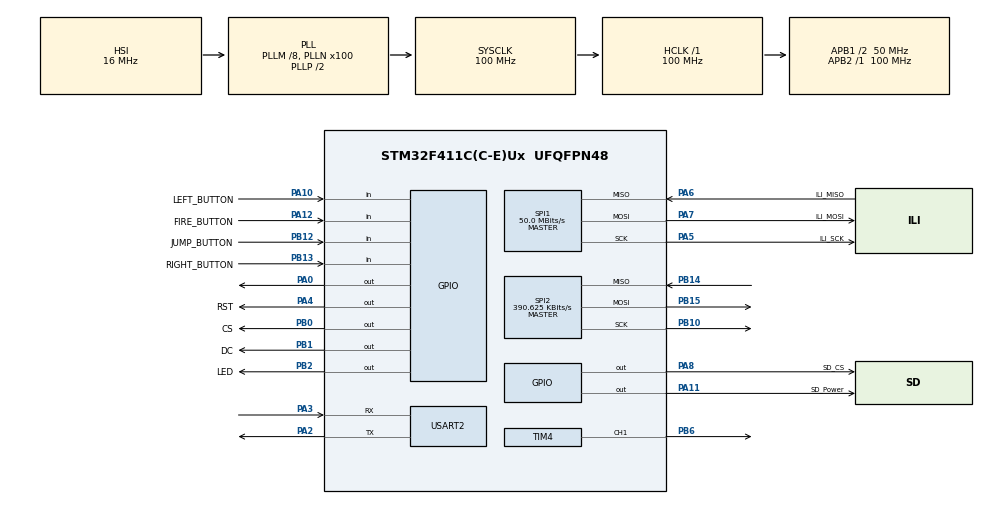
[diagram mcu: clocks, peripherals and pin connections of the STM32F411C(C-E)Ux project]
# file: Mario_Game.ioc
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FATFS._MAX_SS=512
FATFS._USE_LFN=1
Mcu.Family=STM32F4
Mcu.Name=STM32F411C(C-E)Ux
Mcu.Package=UFQFPN48
NVIC.PriorityGroup=NVIC_PRIORITYGROUP_4
NVIC.TIM3_IRQn=true\:0\:0\:false\:false\:true\:true\:true\:true
PA0-WKUP.Signal=GPIO_Output
PA10.GPIO_Label=LEFT_BUTTON
PA10.GPIO_PuPd=GPIO_PULLDOWN
PA10.Signal=GPIO_Input
PA11.GPIO_Label=SD_Power
PA11.GPIO_PuPd=GPIO_NOPULL
PA11.GPIO_Speed=GPIO_SPEED_FREQ_VERY_HIGH
PA11.Signal=GPIO_Output
PA12.GPIO_Label=FIRE_BUTTON
PA12.Signal=GPIO_Input
PA2.Mode=Asynchronous
PA2.Signal=USART2_TX
PA3.Mode=Asynchronous
PA3.Signal=USART2_RX
PA4.GPIO_Label=RST
PA4.GPIO_PuPd=GPIO_NOPULL
PA4.PinState=GPIO_PIN_SET
PA4.Signal=GPIO_Output
PA5.GPIO_Label=ILI_SCK
PA5.GPIO_PuPd=GPIO_NOPULL
PA5.Mode=Full_Duplex_Master
PA5.Signal=SPI1_SCK
PA6.GPIO_Label=ILI_MISO
PA6.GPIO_PuPd=GPIO_NOPULL
PA6.Mode=Full_Duplex_Master
PA6.Signal=SPI1_MISO
PA7.GPIO_Label=ILI_MOSI
PA7.Mode=Full_Duplex_Master
PA7.Signal=SPI1_MOSI
PA8.GPIO_Label=SD_CS
PA8.GPIO_ModeDefaultOutputPP=GPIO_MODE_OUTPUT_PP
PA8.GPIO_PuPd=GPIO_PULLUP
PA8.GPIO_Speed=GPIO_SPEED_FREQ_LOW
PA8.PinState=GPIO_PIN_SET
PA8.Signal=GPIO_Output
PB0.GPIO_Label=CS
PB0.GPIO_ModeDefaultOutputPP=GPIO_MODE_OUTPUT_PP
PB0.GPIO_PuPd=GPIO_NOPULL
PB0.GPIO_Speed=GPIO_SPEED_FREQ_HIGH
PB0.PinState=GPIO_PIN_SET
PB0.Signal=GPIO_Output
PB1.GPIO_Label=DC
PB1.GPIO_ModeDefaultOutputPP=GPIO_MODE_OUTPUT_PP
PB1.GPIO_PuPd=GPIO_NOPULL
PB1.GPIO_Speed=GPIO_SPEED_FREQ_HIGH
PB1.PinState=GPIO_PIN_SET
PB1.Signal=GPIO_Output
PB10.GPIO_PuPd=GPIO_PULLUP
PB10.GPIO_Speed=GPIO_SPEED_FREQ_LOW
PB10.Mode=Full_Duplex_Master
PB10.Signal=SPI2_SCK
PB12.GPIO_Label=JUMP_BUTTON
PB12.GPIO_PuPd=GPIO_PULLDOWN
PB12.Signal=GPIO_Input
PB13.GPIO_Label=RIGHT_BUTTON
PB13.GPIO_PuPd=GPIO_PULLDOWN
PB13.Signal=GPIO_Input
PB14.GPIO_PuPd=GPIO_PULLUP
PB14.GPIO_Speed=GPIO_SPEED_FREQ_LOW
PB14.Mode=Full_Duplex_Master
PB14.Signal=SPI2_MISO
PB15.GPIO_PuPd=GPIO_PULLUP
PB15.GPIO_Speed=GPIO_SPEED_FREQ_LOW
PB15.Mode=Full_Duplex_Master
PB15.Signal=SPI2_MOSI
PB2.GPIO_Label=LED
PB2.GPIO_PuPd=GPIO_NOPULL
PB2.GPIO_Speed=GPIO_SPEED_FREQ_HIGH
PB2.PinState=GPIO_PIN_SET
PB2.Signal=GPIO_Output
PB6.Signal=S_TIM4_CH1
ProjectManager.HeapSize=0x200
ProjectManager.StackSize=0x400
ProjectManager.TargetToolchain=STM32CubeIDE
RCC.48MHZClocksFreq_Value=50000000
RCC.AHBFreq_Value=100000000
RCC.APB1CLKDivider=RCC_HCLK_DIV2
RCC.APB1Freq_Value=50000000
RCC.APB1TimFreq_Value=100000000
RCC.APB2Freq_Value=100000000
RCC.APB2TimFreq_Value=100000000
RCC.CortexFreq_Value=100000000
RCC.HCLKFreq_Value=100000000
RCC.HSE_VALUE=25000000
RCC.HSI_VALUE=16000000
RCC.LSE_VALUE=32768
RCC.PLLM=8
RCC.PLLN=100
RCC.SYSCLKFreq_VALUE=100000000
RCC.SYSCLKSource=RCC_SYSCLKSOURCE_PLLCLK
RCC.VCOOutputFreq_Value=200000000
SH.S_TIM4_CH1.0=TIM4_CH1,PWM Generation1 CH1
SPI1.BaudRatePrescaler=SPI_BAUDRATEPRESCALER_2
SPI1.CalculateBaudRate=50.0 MBits/s
SPI1.Direction=SPI_DIRECTION_2LINES
SPI1.Mode=SPI_MODE_MASTER
SPI1.VirtualType=VM_MASTER
SPI2.BaudRatePrescaler=SPI_BAUDRATEPRESCALER_128
SPI2.CalculateBaudRate=390.625 KBits/s
SPI2.Direction=SPI_DIRECTION_2LINES
SPI2.Mode=SPI_MODE_MASTER
SPI2.VirtualType=VM_MASTER
TIM3.Channel-Output\ Compare1\ No\ Output=TIM_CHANNEL_1
TIM3.Period=12500
TIM4.Channel-PWM\ Generation1\ CH1=TIM_CHANNEL_1
TIM4.Period=255
USART2.VirtualMode=VM_ASYNC
VP_FATFS_VS_Generic.Mode=User_defined
VP_TIM3_VS_no_output1.Mode=Output Compare1 No Output
board=custom

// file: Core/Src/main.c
/* USER CODE BEGIN Header */
/**
  ******************************************************************************
  * @file           : main.c
  * @brief          : Main program body
  ******************************************************************************
  * @attention
  *
  * Copyright (c) 2025 STMicroelectronics.
  * All rights reserved.
  *
  * This software is licensed under terms that can be found in the LICENSE file
  * in the root directory of this software component.
  * If no LICENSE file comes with this software, it is provided AS-IS.
  *
  ******************************************************************************
  */
/* USER CODE END Header */
#include "main.h"
#include "fatfs.h"

/* USER CODE BEGIN Includes */
#include "ili9341.h"
#include "fonts.h"
#include "assets.h"
/* USER CODE END Includes */

/* USER CODE BEGIN PD */
#define BUFF_SIZE 4096

/* USER CODE END PD */

SPI_HandleTypeDef hspi1;
SPI_HandleTypeDef hspi2;

TIM_HandleTypeDef htim3;
TIM_HandleTypeDef htim4;

UART_HandleTypeDef huart2;

/* USER CODE BEGIN PV */
#define USER_BUTTON_PIN GPIO_PIN_0
#define USER_BUTTON_PORT GPIOA
#define DEBOUNCE_DELAY 50
/* USER CODE END PV */

void SystemClock_Config(void);
static void MX_GPIO_Init(void);
static void MX_USART2_UART_Init(void);
static void MX_SPI1_Init(void);
static void MX_SPI2_Init(void);
static void MX_TIM3_Init(void);
static void MX_TIM4_Init(void);

/* USER CODE BEGIN 0 */

//void myprintf(const char *fmt, ...) {
//  static char buffer[256];
//  va_list args;
//  va_start(args, fmt);
//  vsnprintf(buffer, sizeof(buffer), fmt, args);
//  va_end(args);
//
//  int len = strlen(buffer);
////  HAL_UART_Transmit(&huart2, (uint8_t*)buffer, len, -1);
//
//  ILI9341_WriteString(40, 40, buffer, Font_11x18, ILI9341_BLACK, ILI9341_WHITE);
//
//}
bool print_once = false;
uint8_t mario_lives = 3;

struct Character {
	int16_t x;
	int16_t y;
	int16_t width;
	int16_t height;
	int16_t x_distance_between_frame;
	int16_t y_distance_between_frame;
	float y_velocity;
	bool redraw;
};

struct Enemy {
	int16_t x;
	int16_t y;
	int16_t width;
	int16_t height;
	int16_t x_distance_between_frame;
	int16_t y_distance_between_frame;
	int16_t start;
	int16_t end;
	float y_velocity;
	bool dir;
	bool died;
	bool active;
	uint8_t health;
};

struct Object {
	int16_t x;
	int16_t y;
	int16_t prev_x;
	int16_t prev_y;
	int16_t width;
	int16_t height;
	uint16_t* frame;
	bool collidable;
	bool redraw;
};

struct Object objects[20];
uint16_t mario_final[34*32];
uint16_t bowser_final[64*64];
uint8_t num_objects = 0;

uint8_t prev_mario_x = 0;
uint8_t mario_x = 0;
uint8_t prev_mario_y = 0;
uint8_t mario_y = 0;
volatile uint32_t last_press = 0;
bool moved = false;
bool idle = false;
bool dir = false;

struct Character prev_mario = { 80, 176, 26, 32, 0, 0, 0, false };
struct Character mario = { 80, 176, 26, 32, 0, 0, 0, false };

struct Enemy prev_bowser = { 180, 144, 64, 64, 0, 0, 80, 200, 0, false, true};
struct Enemy bowser = { 180, 144, 64, 64, 0, 0, 80, 160, 200, 0, false, true, 50};

struct Enemy prev_goomba = { 180, 54, 32, 32, 0, 0, 80, 200, 0, false, false};
struct Enemy goomba = { 180, 64, 32, 32, 0, 0, 120, 160, 0, false, false };

struct Object fireball = { 0, 0, 0, 0, 16, 16, mario_fire_1, false, false };
uint16_t mario_fire_final[16*16];
uint8_t mario_fire_frame = 0;
//struct Enemy prev_bowser = { 280, 176, 32, 32, 0, 0, 80, 200, 0, false, true};
//struct Enemy bowser = { 280, 176, 32, 32, 0, 0, 80, 200, 0, false, true};
//
//
//struct Enemy* enemies[3] = { &goomba, &donkey, &bowser };
struct Enemy* enemies[3] = { &bowser, &goomba };

unsigned char audio_buff[BUFF_SIZE];
unsigned char yahoo_buff[BUFF_SIZE];
uint16_t buff_pointer = 0;
uint16_t yahoo_buff_pointer = 0;

FATFS FatFs; 	//Fatfs handle
FIL fil; 		//File handle
FIL fil_yahoo; 		//File handle
FRESULT fres; //Result after operations

int num_iter = 0;
int num_not_equal_iter = 0;
bool do_once = false;
bool is_jumping = false;
bool reset_jump_audio = false;
uint32_t jump_timer;
bool reset_game = false;

void HAL_TIM_PeriodElapsedCallback(TIM_HandleTypeDef *htim) {
	if (htim->Instance == TIM3) {
        // Get next sample from buffer
		uint8_t sampled_8bit_pwm_val = audio_buff[buff_pointer++];
		if (is_jumping && HAL_GetTick() - jump_timer < 500) {
			sampled_8bit_pwm_val = (3 * sampled_8bit_pwm_val + yahoo_buff[yahoo_buff_pointer++]) / 4;
			reset_jump_audio = false;
		}
		else {
			if (!reset_jump_audio) {
				reset_jump_audio = true;
				f_lseek(&fil_yahoo, 0x2c);
				yahoo_buff_pointer = 0;
				int bytesRead = 0;
				FRESULT res = f_read(&fil_yahoo, yahoo_buff, BUFF_SIZE, &bytesRead);
			}
		}

        // Scale 16-bit to 8-bit unsigned for PWM (period=255)
        // basically take the 16 bit value, shift by 32768 to make it
        // start from 0. Then multiply by 255
//        uint8_t pwm_value = ((uint16_t)(sample16 + 32768) * 255) >> 16;

//		if (!do_once) {
//			char hex_str[16];
//			sprintf(hex_str, "0x%02X", sampled_8bit_pwm_val);
//			ILI9341_WriteString(80, 0, hex_str, Font_11x18, ILI9341_BLACK, ILI9341_WHITE);
//			do_once = true;
//		}
        __HAL_TIM_SET_COMPARE(&htim4, TIM_CHANNEL_1, sampled_8bit_pwm_val);

        // Refill buffer if needed
        if (buff_pointer >= BUFF_SIZE) {
        	num_iter++;
//			char hex_str[16];
//			sprintf(hex_str, "0x%02X", pwm_value);
//			ILI9341_WriteString(80, 0, hex_str, Font_11x18, ILI9341_BLACK, ILI9341_WHITE);
            // refill buffer with f_read (non-blocking, or with a flag in main loop)
            // or set a "need_refill" flag to be handled in main()
        	int bytesRead = 0;
        	FRESULT res = f_read(&fil, audio_buff, BUFF_SIZE, &bytesRead);
        	if (bytesRead < BUFF_SIZE) {
        		f_lseek(&fil, 0x2C);
        	}

        	buff_pointer = 0;
        }

        if (yahoo_buff_pointer >= BUFF_SIZE) {
        	int bytesRead = 0;
        	FRESULT res = f_read(&fil_yahoo, yahoo_buff, BUFF_SIZE, &bytesRead);
        	if (bytesRead < BUFF_SIZE) {
				f_lseek(&fil_yahoo, 0x2c);
        	}

        	yahoo_buff_pointer = 0;
        }
	}
}

void init() {
    ILI9341_Unselect();
//    ILI9341_TouchUnselect();
    ILI9341_Init();
}

// turn left if walking left
void turn_mario(uint8_t width, uint8_t height) {
	if (mario.x_distance_between_frame < 0 || (mario.x_distance_between_frame == 0 && dir == true)) {
        for (int row = 0; row < height; row++) {
            for (int col = 0; col < width / 2; col++) {
                int left  = row * width + col;
                int right = row * width + (width - 1 - col);

                // Swap 16-bit pixels
                uint16_t temp = mario_final[left];
                mario_final[left] = mario_final[right];
                mario_final[right] = temp;
            }
        }

		dir = true;
	}
	else if (mario.x_distance_between_frame > 0) {
		dir = false;
	}

}

void turn_enemy(uint8_t width, uint8_t height, uint16_t* enemy_final, struct Enemy enemy) {
	for (int row = 0; row < height; row++) {
		for (int col = 0; col < width / 2; col++) {
			int left  = row * width + col;
			int right = row * width + (width - 1 - col);

			// Swap 16-bit pixels
			uint16_t temp = enemy_final[left];
			enemy_final[left] = enemy_final[right];
			enemy_final[right] = temp;
		}
	}

}

void byte_order_switch(uint16_t size, uint8_t arr[]) {

	for (uint16_t i = 0 ; i < size; i+=2) {
		uint16_t temp = arr[i];
		arr[i] = arr[i+1];
		arr[i+1] = temp;
	}
}

bool collision_detection(struct Character mario, struct Object object) {
	uint16_t Ax = mario.x;
	uint16_t Ay = mario.y;

	uint16_t Bx = object.x;
	uint16_t By = object.y;

	uint16_t A_left   = Ax;
	uint16_t A_right  = Ax + mario.width;
	uint16_t A_top    = Ay;
	uint16_t A_bottom = Ay + mario.height;

	uint16_t B_left   = Bx;
	uint16_t B_right  = Bx + object.width;
	uint16_t B_top    = By;
	uint16_t B_bottom = By + object.height;

	bool x_overlap = (A_right >  B_left) && (B_right >  A_left);
	bool y_overlap = (A_bottom > B_top ) && (B_bottom > A_top );
	return x_overlap && y_overlap;
}

bool collision_detection_enemies() {

	static uint32_t mario_last_hit = 0;
	if (mario_last_hit == 0)
		mario_last_hit = HAL_GetTick();
	for (int i = 0; i < 2; i++) {
//
//	int16_t x;
//	int16_t y;
//	int16_t prev_x;
//	int16_t prev_y;
//	int16_t width;
//	int16_t height;
//	uint16_t* frame;
//	bool collidable;
//	bool redraw;

		struct Object enemy_object = { enemies[i]->x, enemies[i]->y, 0, 0, enemies[i]->width, enemies[i]->height, bowser_final, true, false };

		if (enemies[i]->died || !collision_detection(mario,enemy_object))
			continue;

		uint32_t now = HAL_GetTick();
		mario.redraw = true;
		static bool hit = false;
		if (now - mario_last_hit  > 1000) {
			mario_lives--;
			hit = true;
			mario_last_hit = now;
		}
		// renders rest of function obsolete for now
//		return;
		// Landing from above (moving downward)
		if (mario.y_velocity > 0 &&
			prev_mario.y + prev_mario.height <= enemies[i]->y) {

			mario.y = enemies[i]->y - mario.height - 40;
			if (i == 0) {
				mario.y_velocity = -100;
				// undo the minus life from before
				if (hit) {
					mario_lives++;
					hit = false;
				}
			} else if (i == 1) {
				enemies[i]->died = true;
				// undo the minus life from before
				if (hit) {
					mario_lives++;
					hit = false;
				}
			}
			hit = false;
			return true;
		}
		// Hit head from below (moving upward)
		else if (mario.y_velocity < 0 &&
				 prev_mario.y >= enemies[i]->y + enemies[i]->height) {

			mario.y = enemies[i]->y + enemies[i]->height;
			mario.y_velocity = 0.1;  // Start falling
			hit = false;
			return true;
		}
		// Hit from left
		else if (prev_mario.x + prev_mario.width <= enemies[i]->x) {
			mario.x = enemies[i]->x - mario.width;
			mario.x_distance_between_frame = 0;
			hit = false;
			return true;
		}
		// Hit from right
		else if (prev_mario.x >= enemies[i]->x + enemies[i]->width) {
			mario.x = enemies[i]->x + enemies[i]->width;
			mario.x_distance_between_frame = 0;
			hit = false;
			return true;
		}
		else if (i == 0 || i == 1) {
			hit = false;
			struct Enemy prev_enemy = (i == 0) ? prev_bowser : prev_goomba;
			if (enemies[i]->x >= prev_enemy.x) {
				mario.x = enemies[i]->x + enemies[i]->width;
			}
			else {
				mario.x = enemies[i]->x - enemies[i]->width;
			}
		}
	}

	return false;

}

bool standing_on(struct Character mario, struct Object object) {
    uint16_t Ax = mario.x;
    uint16_t Ay = mario.y;

    uint16_t Bx = object.x;
    uint16_t By = object.y;

    uint16_t A_left   = Ax;
    uint16_t A_right  = Ax + mario.width;
    uint16_t A_bottom = Ay + mario.height;

    uint16_t B_left   = Bx;
    uint16_t B_right  = Bx + object.width;
    uint16_t B_top    = By;

    // Check if Mario is horizontally overlapping with the object
    bool x_overlap = (A_right > B_left) && (A_left < B_right);

    // Check if Mario's bottom is within 2 pixels of the object's top
    // This gives tolerance for floating-point precision issues
    bool y_standing = (A_bottom >= B_top - 1) && (A_bottom <= B_top + 1);

    return x_overlap && y_standing;
}

bool isTouchingGround() {
    bool onGround = false;
    bool collision_detected = false;

    for (uint8_t i = 0; i < num_objects; i++) {
        if (!objects[i].collidable) {
			if (collision_detection(prev_mario, objects[i]) || collision_detection(mario, objects[i])) {
				ILI9341_DrawImage(objects[i].x, objects[i].y, objects[i].width, objects[i].height, objects[i].frame);
				objects[i].redraw = true;
				break;
			} else if (objects[i].redraw) {
				ILI9341_DrawImage(objects[i].x, objects[i].y, objects[i].width, objects[i].height, objects[i].frame);
				objects[i].redraw = false;
			}
        continue;
        }

        if (!collision_detection(mario, objects[i]))
            continue;

        collision_detected = true;

        // Landing from above (moving downward)
        if (mario.y_velocity > 0 &&
            prev_mario.y + prev_mario.height <= objects[i].y) {

            mario.y = objects[i].y - mario.height;
            mario.y_velocity = 0;
            onGround = true;
        }
        // Hit head from below (moving upward)
        else if (mario.y_velocity < 0 &&
                 prev_mario.y >= objects[i].y + objects[i].height) {

            mario.y = objects[i].y + objects[i].height;
            mario.y_velocity = 0.1;  // Start falling
        }
        // Hit from left
        else if (prev_mario.x + prev_mario.width <= objects[i].x) {
            mario.x = objects[i].x - mario.width;
            mario.x_distance_between_frame = 0;
        }
        // Hit from right
        else if (prev_mario.x >= objects[i].x + objects[i].width) {
            mario.x = objects[i].x + objects[i].width;
            mario.x_distance_between_frame = 0;
        }

        break;  // Handle only one collision per frame
    }

    // FIXED GRAVITY LOGIC:
    // Only apply gravity if:
    // 1. Mario is not currently on ground from collision detection
    // 2. Mario is not standing on any platform
    // 3. Mario has zero velocity (not already falling/jumping)
    // 4. Mario is not at the bottom boundary

    if (!onGround && mario.y_velocity == 0 && mario.y < 176) {
        bool is_standing_on_something = false;

        for (uint8_t i = 0; i < num_objects; i++) {
            if (objects[i].collidable && standing_on(mario, objects[i])) {
                is_standing_on_something = true;
                break;
            }
        }

        // Only apply gravity if not standing on anything
        if (!is_standing_on_something) {
            mario.y_velocity = 0.1;
        }
    }

    return onGround;
}

void cleanMarioBackground(uint16_t* frame, uint16_t* buffer, uint16_t width, uint16_t height, uint16_t buffsize) {
    for (uint16_t i = 0; i < buffsize; i++) {
        buffer[i] = ILI9341_CYAN;  // Initialize everything to cyan
    }
	for (uint16_t i = 0; i < width * height; i++) {
		if (frame[i] != 0){
			buffer[i] = frame[i];
		}
	}
}
//
//
//void cleanMarioBackground(uint16_t* frame, uint16_t* buffer, uint16_t width, uint16_t height) {
//	for (uint16_t i = 0; i < width; i++) {
//		for (uint16_t j = 0; j < height; j++) {
//			uint16_t idx = i * width + j;
//
//			uint16_t color = frame[idx];
//			uint8_t r = (color >> 11) & 0x1F;
//			uint8_t g = (color >> 5) & 0x3F;
//			uint8_t b = color & 0x1F;
//
//			// Thresholds: adjust to your liking!
//			if (r < 4 && g < 8 && b < 4) {
//				buffer[idx] = ILI9341_CYAN; // or actual background pixel
//			} else {
//				buffer[idx] = color;
//			}
//		}
//	}
//}

void WaitForButtonPress(void) {
    uint8_t button_pressed = 0;
    uint32_t press_time = 0;

    // Wait for button press (falling edge - goes from 1 to 0)
    while (1) {
        if (HAL_GPIO_ReadPin(USER_BUTTON_PORT, USER_BUTTON_PIN) == 0 && !button_pressed) {
            press_time = HAL_GetTick();
            button_pressed = 1;
        }

        // Wait for button release with debounce (goes back to 1)
        if (button_pressed && HAL_GPIO_ReadPin(USER_BUTTON_PORT, USER_BUTTON_PIN) == 1) {
            if ((HAL_GetTick() - press_time) > DEBOUNCE_DELAY) {
                break;  // Button press complete - exit the while loop
            }
        }

        HAL_Delay(10);  // Small delay to prevent excessive polling
    }
}

void hard_reset_system() {
    // Disable all SPI
    HAL_SPI_DeInit(&hspi2);

    // Reset all GPIO

    HAL_GPIO_DeInit(SD_CS_GPIO_Port, SD_CS_Pin);

    // Wait for everything to discharge
    HAL_Delay(100);

    // Reinitialize everything
    MX_GPIO_Init();
    MX_SPI2_Init();

    HAL_Delay(50);

}

uint8_t map = 1;

void draw_map_1() {
	ILI9341_FillScreen(ILI9341_CYAN);
	for (int i = 0; i < 10; i++) {
		objects[i].x = i * 32;
		objects[i].prev_x = i * 32;
		objects[i].y = 208;
		objects[i].prev_y = 208;
		objects[i].width = 32;
		objects[i].height = 32;
		objects[i].frame = ground;
		objects[i].collidable = true;

		ILI9341_DrawImage(objects[i].x, objects[i].y, objects[i].width, objects[i].height, objects[i].frame);
	}

	objects[10].x = 160;
	objects[10].prev_x = 160;
	objects[10].y = 100;
	objects[10].prev_y = 160;
	objects[10].width = 32;
	objects[10].height = 32;
	objects[10].frame = brick;
	objects[10].collidable = true;
	objects[10].redraw = false;

	objects[11].x = 128;
	objects[11].prev_x = 128;
	objects[11].y = 100;
	objects[11].prev_y = 160;
	objects[11].width = 32;
	objects[11].height = 32;
	objects[11].frame = brick;
	objects[11].collidable = true;
	objects[11].redraw = false;

	objects[12].x = 96;
	objects[12].prev_x = 96;
	objects[12].y = 100;
	objects[12].prev_y = 160;
	objects[12].width = 32;
	objects[12].height = 32;
	objects[12].frame = brick;
	objects[12].collidable = true;
	objects[12].redraw = false;

	objects[13].x = 10;
	objects[13].prev_x = 10;
	objects[13].y = 40;
	objects[13].prev_y = 230;
	objects[13].width = 64;
	objects[13].height = 48;
	objects[13].frame = cloud;
	objects[13].collidable = false;
	objects[13].redraw = false;

	objects[14].x = 256;
	objects[14].prev_x = 256;
	objects[14].y = 144;
	objects[14].prev_y = 144;
	objects[14].width = 64;
	objects[14].height = 64;
	objects[14].frame = pipe;
	objects[14].collidable = true;
	objects[14].redraw = false;

	uint16_t pipe_final[64*64];

	cleanMarioBackground(pipe, pipe_final, 64, 64, 64*64);

	for (int i = 10; i < 14; i++)
		ILI9341_DrawImage(objects[i].x, objects[i].y, objects[i].width, objects[i].height, objects[i].frame);

	ILI9341_DrawImage(objects[14].x, objects[14].y, objects[14].width, objects[14].height, pipe_final);
	num_objects = 15;

//		// Test SPI communication first
//		DSTATUS init_status = USER_SPI_initialize(0);
//		char debug_msg[64];
//		snprintf(debug_msg, sizeof(debug_msg), "SPI Init: %d", init_status);
//		ILI9341_WriteString(40, 20, debug_msg, Font_11x18, ILI9341_BLACK, ILI9341_WHITE);
//		HAL_Delay(100);
//
//		// Check if SPI handle is working
//		if (SD_SPI_HANDLE.Instance == NULL) {
//		    ILI9341_WriteString(40, 60, "SPI NULL!", Font_11x18, ILI9341_RED, ILI9341_WHITE);
//		    while(1);
//		}
//
//		// Test basic SPI transfer
//		uint8_t test_data = 0xFF;
//		uint8_t received = 0;
//		HAL_StatusTypeDef spi_status = HAL_SPI_TransmitReceive(&SD_SPI_HANDLE, &test_data, &received, 1, 1000);
//		snprintf(debug_msg, sizeof(debug_msg), "SPI Test: %d, RX: 0x%02X", spi_status, received);
//		ILI9341_WriteString(40, 80, debug_msg, Font_11x18, ILI9341_BLACK, ILI9341_WHITE);

	// test
	HAL_Delay(2000); // Give time to read debug info

}

void draw_bowser() {
	static uint32_t bowser_last_moved = 0;
	static uint32_t bowser_last_updated = 0;
	static uint32_t mario_last_hit = 0;
	static uint32_t flame_timer = 0;
	static struct Object fireballs[10];
	static bool bowser_dead = false;
	static uint16_t fireball_final[48 * 16];
	static int8_t flames = 3;
	static const uint8_t bowser_max_health = 50;

	// added reset check here
	if (reset_game) {
		bowser_dead = false;
		flames = 3;
		bowser_last_moved = HAL_GetTick();
		bowser_last_updated = bowser_last_moved;
		flame_timer = bowser_last_moved;
		mario_last_hit = flame_timer;

		ILI9341_FillRectangle(198, 8, 2 * 50 + 4, 14, ILI9341_CYAN);
		ILI9341_FillRectangle(198, 8, 2 * bowser_max_health + 4, 14, ILI9341_BLACK);
		ILI9341_FillRectangle(199, 9, 2 * 50 + 2, 12, ILI9341_WHITE);
		ILI9341_FillRectangle(200, 10, 2 * bowser.health, 10, ILI9341_RED);
		return;
	}

	if (bowser_dead)
		return;

	if (bowser_last_moved == 0) {
		bowser_last_moved = HAL_GetTick();
		bowser_last_updated = bowser_last_moved;
		flame_timer = bowser_last_moved;
		mario_last_hit = flame_timer;
	}
	static uint8_t frame_num = 0;
	static uint16_t* frames[4] = { bowser_1, bowser_2, bowser_3, bowser_4 };
	if (frame_num > 3)
		frame_num = 0;
	uint16_t* bowser_frame =  frames[frame_num];

	uint32_t now = HAL_GetTick();

	if (now - bowser_last_updated > 100) {
		if (flames != 0) {
			if (now - flame_timer > 1700) {
				fireballs[3 - flames].x = bowser.x;
				fireballs[3 - flames].y = bowser.y + 35;
				fireballs[3 - flames].width = 48;
				fireballs[3 - flames].height = 16;
				fireballs[3 - flames].prev_x = bowser.x;
				fireballs[3 - flames].prev_y = bowser.y + 35;
				fireballs[3 - flames].frame = fireball_1;
				fireballs[3 - flames].redraw = true;
				flames--;
				flame_timer = now;
			}

		}
		else if (prev_bowser.x >= bowser.x) {
			prev_bowser = bowser;
			bowser.x -= 10;
			if (bowser.x <= 0) {
				bowser.x = 11;
			}
		} else {
			prev_bowser = bowser;
			bowser.x += 10;
			if (bowser.x >= 190) {
				bowser.x = 180;
				flames = 3;
			}
		}
		bowser_last_updated = now;
	}
	if (now - bowser_last_moved > 300) {
		frame_num++;
		bowser_last_moved = now;
	}
	static uint16_t* frame = fireball_2;
	if (3 - flames) {
		frame = (frame == fireball_1) ? fireball_2 : fireball_1;
		cleanMarioBackground(frame, fireball_final, 48, 16, 48 * 16);
	}
	for (uint8_t i = 0; i < 3 - flames; i++) {
		// update fireball
		// update its frame
		fireballs[i].x -= 20;
		if (collision_detection(mario, fireballs[i])) {
			if (now - mario_last_hit > 1000) {
				mario_lives--;
				mario.redraw = true;
				mario_last_hit = now;
			}
			fireballs[i].redraw = false;
			ILI9341_FillRectangle(fireballs[i].prev_x, fireballs[i].prev_y, fireballs[i].width, fireballs[i].height, ILI9341_CYAN);
		}
		if (fireballs[i].redraw && (fireballs[i].x > 0 || fireballs[i].prev_x >= 0)) {

			ILI9341_FillRectangle(fireballs[i].prev_x, fireballs[i].prev_y, fireballs[i].width, fireballs[i].height, ILI9341_CYAN);
			fireballs[i].prev_x = fireballs[i].x;
			fireballs[i].prev_y = fireballs[i].y;
			ILI9341_DrawImage(fireballs[i].x, fireballs[i].y, fireballs[i].width, fireballs[i].height, fireball_final);
		}
	}

	cleanMarioBackground(bowser_frame, bowser_final, 64, 64, 64*64);
	if (bowser.x > prev_bowser.x) {
		ILI9341_FillRectangle(prev_bowser.x, prev_bowser.y, bowser.x - prev_bowser.x, prev_bowser.height, ILI9341_CYAN);
		turn_enemy(bowser.width, bowser.height, bowser_final, bowser);
	} else if (prev_bowser.x > bowser.x) {
		ILI9341_FillRectangle(bowser.x + bowser.width, prev_bowser.y, prev_bowser.x + prev_bowser.width - (bowser.x + bowser.width), prev_bowser.height, ILI9341_CYAN);
	}

	static uint8_t bowser_health = 0;
	struct Character goomba_char = {goomba.x, goomba.y, goomba.width, goomba.height};
	struct Object health_char = {198, 8, 0, 0, 2 * bowser_max_health + 4, 14};
	static bool prev_collision = false;
	bool current_collision = collision_detection(goomba_char, health_char) || collision_detection(mario, health_char);
	if (bowser_health != bowser.health || prev_collision || current_collision) {
		// bowser health
		ILI9341_FillRectangle(198, 8, 2 * 50 + 4, 14, ILI9341_CYAN);
		ILI9341_FillRectangle(198, 8, 2 * bowser_max_health + 4, 14, ILI9341_BLACK);
		ILI9341_FillRectangle(199, 9, 2 * 50 + 2, 12, ILI9341_WHITE);
		ILI9341_FillRectangle(200, 10, 2 * bowser.health, 10, ILI9341_RED);
		bowser_health = bowser.health;
		prev_collision = current_collision;
	}

	ILI9341_DrawImage(bowser.x, bowser.y, bowser.width, bowser.height, bowser_final);

	if (bowser.died) {
		if (!bowser_dead) {
			bowser_dead = true;
			ILI9341_FillRectangle(prev_bowser.x - 10, prev_bowser.y, prev_bowser.width + 20, prev_bowser.height, ILI9341_CYAN);
			ILI9341_FillRectangle(198, 8, 2 * 50 + 4, 14, ILI9341_CYAN);
		}
		return;
	}
}

void draw_goomba() {

	static goomba_final[32 * 32];
	static uint16_t* frame = goomba_2;
	static bool jump = false;
	static int16_t velocity = -43;
	frame = (frame == goomba_1) ? goomba_2: goomba_1;

	if (goomba.x == 272 && goomba.y == 112) {
		jump = true;
		velocity = -43;
	}

	if (jump) {
		prev_goomba = goomba;
		goomba.y += velocity;
		velocity -= (velocity / 3 - 2);
		goomba.x -= 7;
		if (velocity > 0 && goomba.y > 64) {
			jump = false;
			goomba.x = 160;
			goomba.y = 64;
		}
	}
	else if (prev_goomba.x >= goomba.x) {
			prev_goomba = goomba;
			goomba.x -= 5;
			if (goomba.x <= 90) {
				goomba.x = 96;
			}
		} else {
			prev_goomba = goomba;
			goomba.x += 5;
			if (goomba.x >= 160) {
				goomba.x = 154;
			}
	}

	cleanMarioBackground(frame, goomba_final, 32, 32, 32*32);
	ILI9341_FillRectangle(prev_goomba.x, prev_goomba.y, prev_goomba.width, prev_goomba.height, ILI9341_CYAN);
	ILI9341_DrawImage(goomba.x, goomba.y, goomba.width, goomba.height, goomba_final);

}

void draw_mario_fireball() {
	static int8_t distance = -1;

	if (distance == -1) {
		if (mario.x_distance_between_frame < 0 || (mario.x_distance_between_frame == 0 && dir == true)) {
			fireball.x = mario.x - 16;
			distance = -15;
		} else {
			distance = 15;
		}
	}

	fireball.prev_x = fireball.x;
	fireball.prev_y = fireball.y;
	fireball.x += distance;
	struct Character goomba_char = {goomba.x, goomba.y, goomba.width, goomba.height};
	struct Character bowser_char = {bowser.x, bowser.y, bowser.width, bowser.height};
	bool bowser_hit = collision_detection(bowser_char, fireball);
	bool goomba_hit = collision_detection(goomba_char, fireball) && !goomba.died;
	bool object_hit = false;
	static bool drawn = false;

	for (int i = 0; i < num_objects; i++) {
		struct Character object_char = { objects[i].x, objects[i].y, objects[i].width, objects[i].height };
		if (collision_detection(object_char, fireball)) {
			object_hit = true;
		}
	}

	if (bowser_hit || goomba_hit || object_hit) {
		fireball.redraw = false;
		distance = -1;

		if (bowser_hit) {
			bowser.health -= 2;
			if (bowser.health <= 0)
				bowser.died = true;
		}
		if (goomba_hit) {
			goomba.died = true;
		}
		// clear the last drawn image
		if (drawn) {
			ILI9341_FillRectangle(fireball.prev_x, fireball.prev_y, fireball.width, fireball.height, ILI9341_CYAN);
			drawn = false;
		}
	}

	if (fireball.x < 0 || fireball.x > 303) {
		fireball.redraw = false;
		ILI9341_FillRectangle(fireball.prev_x, fireball.prev_y, fireball.width, fireball.height, ILI9341_CYAN);
		distance = -1;
		drawn = false;
	}

	static uint16_t* frame;
	if (mario_fire_frame == 0) {
		frame = mario_fire_1;
	}
	else if (mario_fire_frame == 1) {
		frame = mario_fire_2;
	}
	else if (mario_fire_frame == 2) {
		frame = mario_fire_3;
	}
	else if (mario_fire_frame == 3) {
		frame = mario_fire_4;
	}
	if (fireball.redraw) {
		drawn = true;
		cleanMarioBackground(frame, mario_fire_final, 16, 16, 16*16);
		ILI9341_FillRectangle(fireball.prev_x, fireball.prev_y, fireball.width, fireball.height, ILI9341_CYAN);
		ILI9341_DrawImage(fireball.x, fireball.y, fireball.width, fireball.height, mario_fire_final);
		mario_fire_frame++;
		if (mario_fire_frame > 3)
			mario_fire_frame = 0;
	}

}

void drawScene(uint8_t map_num) {
	if (map_num == 1) {

		draw_map_1();
	}
}

void reset_game_state() {
	drawScene(1);
	reset_game = true;
	draw_bowser();
	reset_game = false;
	prev_mario = (struct Character){ 80, 176, 26, 32, 0, 0, 0, false };
	mario = (struct Character){ 80, 176, 26, 32, 0, 0, 0, false };

	prev_bowser = (struct Enemy){ 180, 144, 64, 64, 0, 0, 80, 200, 0, false, true};
	bowser = (struct Enemy){ 180, 144, 64, 64, 0, 0, 80, 160, 200, 0, false, true, 50};

	prev_goomba = (struct Enemy){ 180, 54, 32, 32, 0, 0, 80, 200, 0, false, false};
	goomba = (struct Enemy){ 180, 64, 32, 32, 0, 0, 120, 160, 0, false, false };

}

//void fill_background(uint16_t img, uint16_t output, uint8_t width, uint8_t height) {
//	for (int i = 0; i < width; i++) {
//		for (int j = 0; j < height; j++)
//	}
//}

//void HAL_GPIO_EXTI_Callback(uint16_t GPIO_Pin) {
//    if (GPIO_Pin == RIGHT_BUTTON_Pin) {
//    	uint32_t now = HAL_GetTick();
//    	if (now - last_press > 100) {
//    		prev_mario_x = mario_x;
//        	mario_x += 3;
//        	last_press = now;
//        	moved = true;
//    	}
//    }
//}
/* USER CODE END 0 */

int main(void)
{

  /* MCU Configuration--------------------------------------------------------*/

  /* Reset of all peripherals, Initializes the Flash interface and the Systick. */
  HAL_Init();

  /* Configure the system clock */
  SystemClock_Config();

  /* Initialize all configured peripherals */
  MX_GPIO_Init();
  MX_USART2_UART_Init();
  MX_SPI1_Init();
  MX_SPI2_Init();
  MX_FATFS_Init();
  MX_TIM3_Init();
  MX_TIM4_Init();
  /* USER CODE BEGIN 2 */
//  HAL_TIM_PWM_Start(&htim2, TIM_CHANNEL_1);
//  HAL_GPIO_WritePin(SD_Power_GPIO_Port, SD_Power_Pin, GPIO_PIN_SET);
  /* USER CODE END 2 */

  /* Infinite loop */
  /* USER CODE BEGIN WHILE */
  init();

//  ILI9341_FillScreen(ILI9341_CYAN);

  uint32_t last_tick = HAL_GetTick();
  uint32_t move_tick = HAL_GetTick();
  uint32_t walk_tick = HAL_GetTick();
  uint32_t read_pin_tick = HAL_GetTick();
  uint8_t curr_walk_frame = 0;
  uint16_t* walk_frames[] = { mario_walk_1, mario_walk_2, mario_walk_3 };
  uint8_t walk_frames_size[] = { 32, 32, 24, 32, 28, 32 };
  uint8_t text_height = 0;
  bool idle = false;

  uint32_t now = HAL_GetTick();
  uint32_t frame_count = 0;
  bool game_over = false;

//  hard_reset_system();
  HAL_Delay(50);
  ILI9341_WriteString(40, 20, "Starting Mount!", Font_11x18, ILI9341_BLACK, ILI9341_WHITE);
  HAL_Delay(50);

//	HAL_GPIO_WritePin(SD_CS_GPIO_Port, SD_CS_Pin, SET);
	// Now try mount
	  //Open the file system
	  fres = f_mount(&FatFs, "", 1); //1=mount now
	  while (fres != FR_OK) {
		char msg[32];
		snprintf(msg, sizeof(msg), "mount err %u", (unsigned)fres);
		HAL_GPIO_WritePin(SD_CS_GPIO_Port, SD_CS_Pin, RESET);
		HAL_Delay(100);
		HAL_GPIO_WritePin(SD_CS_GPIO_Port, SD_CS_Pin, SET);
		HAL_Delay(10);
		ILI9341_WriteString(40, 60, msg, Font_11x18, ILI9341_BLACK, ILI9341_WHITE);
		HAL_Delay(100);
		fres = f_mount(&FatFs, "", 1); //1=mount now
		ILI9341_WriteString(40, 60, "Retrying: please wait!", Font_11x18, ILI9341_BLACK, ILI9341_WHITE);
	  }

	  HAL_Delay(10);
	  ILI9341_WriteString(0, 280, "SD Card Mounted", Font_11x18, ILI9341_BLACK, ILI9341_WHITE);
	  HAL_Delay(5000);
	  DWORD free_clusters, free_sectors, total_sectors;

	  FATFS* getFreeFs;

	  fres = f_getfree("", &free_clusters, &getFreeFs);
	  if (fres != FR_OK) {
		  ILI9341_WriteString(40, 40, "step 2", Font_11x18, ILI9341_BLACK, ILI9341_WHITE);
//			myprintf("f_getfree error (%i)\r\n", fres);
		while(1);
	  }

	  fres = f_open(&fil, "mario.wav", FA_READ);
	  if (fres != FR_OK) {
		  ILI9341_WriteString(40, 40, "step 3", Font_11x18, ILI9341_BLACK, ILI9341_WHITE);
	  }
//			myprintf("f_open error (%i)\r\n");
	  fres = f_open(&fil_yahoo, "yahoo.wav", FA_READ);

	  //Read first 44 bytes of the wav file
//	  BYTE readBuff[44];
//      FRESULT res = f_read(&fil, readBuff, 44, &numRead);
	  f_lseek(&fil, 0x2C);
	  f_lseek(&fil_yahoo, 0x55);
      HAL_Delay(10);

	  int numRead = 0;
      FRESULT res = f_read(&fil, audio_buff, BUFF_SIZE, &numRead);
      res = f_read(&fil_yahoo, yahoo_buff, BUFF_SIZE, &numRead);
	  HAL_Delay(300);
	  drawScene(1);

  HAL_TIM_PWM_Start(&htim4, TIM_CHANNEL_1);     // PWM out
  HAL_TIM_Base_Start_IT(&htim3);
  uint16_t* curr_goomba = goomba_1;
  while (1)
  {
    /* USER CODE END WHILE */

    /* USER CODE BEGIN 3 */
	if (mario_lives == 0) {
		if (!game_over) {
			game_over = true;
			ILI9341_FillScreen(ILI9341_BLACK);
			ILI9341_WriteString(80, 100, "Game Over!", Font_16x26, ILI9341_WHITE, ILI9341_BLACK);

		}

		if (HAL_GPIO_ReadPin(JUMP_BUTTON_GPIO_Port, JUMP_BUTTON_Pin) == GPIO_PIN_SET) {
				game_over = false;
				mario_lives = 3;
				reset_game_state();
		}
		HAL_Delay(100);
		continue;
	}
    if (mario.x < 0) mario.x = 0;
    if (mario.x > 320 - mario.width) mario.x = 320 - mario.width;
	uint32_t now = HAL_GetTick();

//	if (!moved && !idle) {
//		mario.width = 26;
//		mario.height = 32;
//
//		mario.x += mario.x_distance_between_frame;
//		mario.x_distance_between_frame = 0;
//
//		ILI9341_FillRectangle(prev_mario.x, prev_mario.y, prev_mario.width, prev_mario.height, ILI9341_CYAN);
////		cleanMarioBackground(mario_idle, mario_final, mario.width, mario.height);
////		ILI9341_DrawImage(mario.x, mario.y, mario.width, mario.height, mario_final);
//		ILI9341_DrawImage(mario.x, mario.y, mario.width, mario.height, mario_idle);
//		idle = true;
//		prev_mario = mario;
//	}

	// DRAW LOOP
	if (now - walk_tick >= 100) {
//		if (!goomba.died) {
//			prev_goomba = goomba;
//			if (!goomba.dir) {
//				goomba.x -= 2;
//				if (goomba.x <= goomba.start) {
//					goomba.dir = true;
//				}
//			} else {
//				goomba.x += 2;
//				if (goomba.x >= goomba.end) {
//					goomba.dir = false;
//				}
//		}
//		} else if (goomba.active) {
//			goomba.active = false;
//			prev_goomba = goomba;
//			ILI9341_FillRectangle(prev_goomba.x, prev_goomba.y, prev_goomba.width, prev_goomba.height, ILI9341_CYAN);
//		}

		uint16_t* frame;
		// no movement happened
		if (!mario.x_distance_between_frame && (!mario.y_velocity)) {
			frame = mario_idle;
			mario.width = 26;
			mario.height = 32;
		}
		else {
			mario.x += mario.x_distance_between_frame;
//			for (int i = 0; i < num_objects; i++) {
//				objects[i].prev_x = objects[i].x;
//				objects[i].x -= mario.x_distance_between_frame;
//			}

			if (mario.y_velocity) {
					mario.y_velocity += 0.10 * 550;
					float y_traveled = mario.y_velocity * 0.10;

					mario.y += y_traveled;

//					if (mario.y > 176) {
//						mario.y = 176;
//						mario.y_velocity = 0;
//					}
			}

			if (mario.y_velocity) {
				frame = mario_jump;
				mario.width = 34;
				mario.height = 32;
			}
			else {
				curr_walk_frame++;
				curr_walk_frame %= 3;
				frame = walk_frames[curr_walk_frame];
				mario.width = walk_frames_size[curr_walk_frame * 2];
				mario.height = walk_frames_size[curr_walk_frame * 2 + 1];
			}
//			uint8_t prev_frame = (curr_walk_frame == 0) ? 2 : curr_walk_frame - 1;
//			uint8_t prev_frame_x = walk_frames_size[prev_frame * 2];
//			uint8_t prev_frame_y = walk_frames_size[prev_frame * 2 + 1];

//			char buf_xy[32];
//			char buf_vel[16];

//			sprintf(buf_xy, "(%d)", (int)mario.y_velocity);
//			ILI9341_WriteString(180, 200, buf_xy, Font_11x18, ILI9341_WHITE, ILI9341_BLACK);

//			sprintf(buf_vel, "%f", mario.y_velocity);
//			ILI9341_WriteString(180, 220, buf_vel, Font_11x18, ILI9341_WHITE, ILI9341_BLACK);
		}

		collision_detection_enemies();
		bool touching_ground = isTouchingGround();
		// if mario isn't idle or he is but its the first frame where he is idle, then draw
		// otherwise skip to optimize speed.
		if (frame != mario_idle || (frame == mario_idle && !idle) || mario.redraw) {
			static uint8_t redraw_frames = 10;
			redraw_frames--;

			if (redraw_frames == 0) {
				mario.redraw = false;
				redraw_frames = 10;
			}
			if (!idle && frame == mario_idle) {
				// prevent another print while he's idle
				idle = true;
			}

			if (idle && frame != mario_idle) {
				idle = false;
			}

			ILI9341_FillRectangle(prev_mario.x, prev_mario.y, prev_mario.width, prev_mario.height, ILI9341_CYAN);
	//		ILI9341_DrawImage(mario.x, mario.y, mario.width, mario.height, frame);
			cleanMarioBackground(frame, mario_final, mario.width, mario.height, 34*32);
			//			for (int i = 0; i < num_objects; i++) {
//				if (objects[i].redraw) {
//					ILI9341_DrawImage(objects[i].x, objects[i].y, objects[i].width, objects[i].height, objects[i].frame);
//					objects[i].redraw = false;
//				}
//			}
			turn_mario(mario.width, mario.height);
//			for (int i = 0; i < num_objects; i++) {
//				ILI9341_FillRectangle(objects[i].prev_x, objects[i].y, objects[i].width, objects[i].height, ILI9341_CYAN);
//			}
//
//			for (int i = 0; i < num_objects; i++) {
//				if (objects[i].x >= 0 && objects[i].x < 320 || objects[i].y >= 0 || objects[i].y < 240) {
//					ILI9341_DrawImage(objects[i].x, objects[i].y, objects[i].width, objects[i].height, objects[i].frame);
//				}
//			}
			ILI9341_DrawImage(mario.x, mario.y, mario.width, mario.height, mario_final);
	//		ILI9341_DrawImage(mario.x, mario.y, mario.width, mario.height, frame);
		}

//		if (goomba.active) {
//			curr_goomba = (curr_goomba == goomba_1) ? goomba_2 : goomba_1;
//			cleanMarioBackground(curr_goomba, goomba_final, goomba.width, goomba.height);
//			ILI9341_FillRectangle(prev_goomba.x, prev_goomba.y, prev_goomba.width, prev_goomba.height, ILI9341_CYAN);
//			ILI9341_DrawImage(goomba.x, goomba.y, goomba.width, goomba.height, goomba_final);
//		}

		// draw mario fireballs
		if (fireball.redraw) {
			draw_mario_fireball();
		}
		prev_mario = mario;
		mario.x_distance_between_frame = 0;
		walk_tick = now;
		static goomba_revive_timer = 0;
		static bool reset = false;
		char msg[32];
		snprintf(msg, sizeof(msg), "Lives: %d", mario_lives);
		ILI9341_WriteString(10, 10, msg, Font_11x18, ILI9341_BLACK, ILI9341_CYAN);
		if (!goomba.died) {
			draw_goomba();
		} else {
			// basically equals now
			if (!reset) {
				goomba_revive_timer = walk_tick;
				reset = true;
				ILI9341_FillRectangle(goomba.x, goomba.y, goomba.width, goomba.height, ILI9341_CYAN);
			}
			if (now - goomba_revive_timer >= 2000) {
				goomba_revive_timer = now;
				goomba.died = false;
				prev_goomba = goomba;
				goomba.x = 272;
				goomba.y = 112;
				reset = false;
			}
		}

		draw_bowser();

	}

	frame_count++;

//	if (now - last_tick >= 500) {
//		// 1 second has passed!
//		ILI9341_FillRectangle(0, text_height, 100, 20, ILI9341_RED);
//		text_height+= 2;
//		ILI9341_WriteString(10, text_height, "FPS: ", Font_11x18, ILI9341_WHITE, ILI9341_BLACK);
//		char buf[16];
//		sprintf(buf, "%lu", frame_count);
//		ILI9341_WriteString(0, text_height, buf, Font_11x18, ILI9341_WHITE, ILI9341_BLACK);
//		frame_count = 0;
//		last_tick += 1000;  // Move up by 1 second, avoids drift
//   }

//	if (frame_count > 30) {
//		HAL_Delay(10);
//	}
	// forward
	if (now - read_pin_tick >= 50) {
		read_pin_tick = now;
		if (HAL_GPIO_ReadPin(RIGHT_BUTTON_GPIO_Port, RIGHT_BUTTON_Pin) == GPIO_PIN_SET) {
			// Button is held down - move the character
			mario.x_distance_between_frame += 3;
			move_tick = now;
	   }
		else if (HAL_GPIO_ReadPin(LEFT_BUTTON_GPIO_Port, LEFT_BUTTON_Pin) == GPIO_PIN_SET) {
			// Button is held down - move the character
			mario.x_distance_between_frame -= 3;
			move_tick = now;
		}
	   if (HAL_GPIO_ReadPin(JUMP_BUTTON_GPIO_Port, JUMP_BUTTON_Pin) == GPIO_PIN_SET) {
			// Button is held down - move the character
		   is_jumping = true;
		   jump_timer = HAL_GetTick();
		   mario.y_velocity = (mario.y_velocity) ? mario.y_velocity : -450;
		   if (mario.y < 120 && mario.y_velocity == -450) {
			  mario.y_velocity = -285;
		   }
		   move_tick = now;
		}

		if (HAL_GPIO_ReadPin(FIRE_BUTTON_GPIO_Port, FIRE_BUTTON_Pin) == GPIO_PIN_SET) {
			if (!fireball.redraw) {
				fireball.redraw = true;
				fireball.x = mario.x + mario.width;
				fireball.y = mario.y + 5;
				mario_fire_frame = 0;
			}
		}
	}

  }
  /* USER CODE END 3 */
}

void SystemClock_Config(void)
{
  RCC_OscInitTypeDef RCC_OscInitStruct = {0};
  RCC_ClkInitTypeDef RCC_ClkInitStruct = {0};

  /** Configure the main internal regulator output voltage
  */
  __HAL_RCC_PWR_CLK_ENABLE();
  __HAL_PWR_VOLTAGESCALING_CONFIG(PWR_REGULATOR_VOLTAGE_SCALE1);

  /** Initializes the RCC Oscillators according to the specified parameters
  * in the RCC_OscInitTypeDef structure.
  */
  RCC_OscInitStruct.OscillatorType = RCC_OSCILLATORTYPE_HSI;
  RCC_OscInitStruct.HSIState = RCC_HSI_ON;
  RCC_OscInitStruct.HSICalibrationValue = RCC_HSICALIBRATION_DEFAULT;
  RCC_OscInitStruct.PLL.PLLState = RCC_PLL_ON;
  RCC_OscInitStruct.PLL.PLLSource = RCC_PLLSOURCE_HSI;
  RCC_OscInitStruct.PLL.PLLM = 8;
  RCC_OscInitStruct.PLL.PLLN = 100;
  RCC_OscInitStruct.PLL.PLLP = RCC_PLLP_DIV2;
  RCC_OscInitStruct.PLL.PLLQ = 4;
  if (HAL_RCC_OscConfig(&RCC_OscInitStruct) != HAL_OK)
  {
    Error_Handler();
  }

  /** Initializes the CPU, AHB and APB buses clocks
  */
  RCC_ClkInitStruct.ClockType = RCC_CLOCKTYPE_HCLK|RCC_CLOCKTYPE_SYSCLK
                              |RCC_CLOCKTYPE_PCLK1|RCC_CLOCKTYPE_PCLK2;
  RCC_ClkInitStruct.SYSCLKSource = RCC_SYSCLKSOURCE_PLLCLK;
  RCC_ClkInitStruct.AHBCLKDivider = RCC_SYSCLK_DIV1;
  RCC_ClkInitStruct.APB1CLKDivider = RCC_HCLK_DIV2;
  RCC_ClkInitStruct.APB2CLKDivider = RCC_HCLK_DIV1;

  if (HAL_RCC_ClockConfig(&RCC_ClkInitStruct, FLASH_LATENCY_3) != HAL_OK)
  {
    Error_Handler();
  }
}

static void MX_SPI1_Init(void)
{

  /* SPI1 parameter configuration*/
  hspi1.Instance = SPI1;
  hspi1.Init.Mode = SPI_MODE_MASTER;
  hspi1.Init.Direction = SPI_DIRECTION_2LINES;
  hspi1.Init.DataSize = SPI_DATASIZE_8BIT;
  hspi1.Init.CLKPolarity = SPI_POLARITY_LOW;
  hspi1.Init.CLKPhase = SPI_PHASE_1EDGE;
  hspi1.Init.NSS = SPI_NSS_SOFT;
  hspi1.Init.BaudRatePrescaler = SPI_BAUDRATEPRESCALER_2;
  hspi1.Init.FirstBit = SPI_FIRSTBIT_MSB;
  hspi1.Init.TIMode = SPI_TIMODE_DISABLE;
  hspi1.Init.CRCCalculation = SPI_CRCCALCULATION_DISABLE;
  hspi1.Init.CRCPolynomial = 10;
  if (HAL_SPI_Init(&hspi1) != HAL_OK)
  {
    Error_Handler();
  }

}

static void MX_SPI2_Init(void)
{

  /* SPI2 parameter configuration*/
  hspi2.Instance = SPI2;
  hspi2.Init.Mode = SPI_MODE_MASTER;
  hspi2.Init.Direction = SPI_DIRECTION_2LINES;
  hspi2.Init.DataSize = SPI_DATASIZE_8BIT;
  hspi2.Init.CLKPolarity = SPI_POLARITY_LOW;
  hspi2.Init.CLKPhase = SPI_PHASE_1EDGE;
  hspi2.Init.NSS = SPI_NSS_SOFT;
  hspi2.Init.BaudRatePrescaler = SPI_BAUDRATEPRESCALER_128;
  hspi2.Init.FirstBit = SPI_FIRSTBIT_MSB;
  hspi2.Init.TIMode = SPI_TIMODE_DISABLE;
  hspi2.Init.CRCCalculation = SPI_CRCCALCULATION_DISABLE;
  hspi2.Init.CRCPolynomial = 10;
  if (HAL_SPI_Init(&hspi2) != HAL_OK)
  {
    Error_Handler();
  }

}

static void MX_TIM3_Init(void)
{

  TIM_MasterConfigTypeDef sMasterConfig = {0};
  TIM_OC_InitTypeDef sConfigOC = {0};

  htim3.Instance = TIM3;
  htim3.Init.Prescaler = 0;
  htim3.Init.CounterMode = TIM_COUNTERMODE_UP;
  htim3.Init.Period = 12500;
  htim3.Init.ClockDivision = TIM_CLOCKDIVISION_DIV1;
  htim3.Init.AutoReloadPreload = TIM_AUTORELOAD_PRELOAD_DISABLE;
  if (HAL_TIM_OC_Init(&htim3) != HAL_OK)
  {
    Error_Handler();
  }
  sMasterConfig.MasterOutputTrigger = TIM_TRGO_RESET;
  sMasterConfig.MasterSlaveMode = TIM_MASTERSLAVEMODE_DISABLE;
  if (HAL_TIMEx_MasterConfigSynchronization(&htim3, &sMasterConfig) != HAL_OK)
  {
    Error_Handler();
  }
  sConfigOC.OCMode = TIM_OCMODE_TIMING;
  sConfigOC.Pulse = 0;
  sConfigOC.OCPolarity = TIM_OCPOLARITY_HIGH;
  sConfigOC.OCFastMode = TIM_OCFAST_DISABLE;
  if (HAL_TIM_OC_ConfigChannel(&htim3, &sConfigOC, TIM_CHANNEL_1) != HAL_OK)
  {
    Error_Handler();
  }

}

static void MX_TIM4_Init(void)
{

  TIM_MasterConfigTypeDef sMasterConfig = {0};
  TIM_OC_InitTypeDef sConfigOC = {0};

  htim4.Instance = TIM4;
  htim4.Init.Prescaler = 0;
  htim4.Init.CounterMode = TIM_COUNTERMODE_UP;
  htim4.Init.Period = 255;
  htim4.Init.ClockDivision = TIM_CLOCKDIVISION_DIV1;
  htim4.Init.AutoReloadPreload = TIM_AUTORELOAD_PRELOAD_DISABLE;
  if (HAL_TIM_PWM_Init(&htim4) != HAL_OK)
  {
    Error_Handler();
  }
  sMasterConfig.MasterOutputTrigger = TIM_TRGO_RESET;
  sMasterConfig.MasterSlaveMode = TIM_MASTERSLAVEMODE_DISABLE;
  if (HAL_TIMEx_MasterConfigSynchronization(&htim4, &sMasterConfig) != HAL_OK)
  {
    Error_Handler();
  }
  sConfigOC.OCMode = TIM_OCMODE_PWM1;
  sConfigOC.Pulse = 0;
  sConfigOC.OCPolarity = TIM_OCPOLARITY_HIGH;
  sConfigOC.OCFastMode = TIM_OCFAST_DISABLE;
  if (HAL_TIM_PWM_ConfigChannel(&htim4, &sConfigOC, TIM_CHANNEL_1) != HAL_OK)
  {
    Error_Handler();
  }
  HAL_TIM_MspPostInit(&htim4);

}

static void MX_USART2_UART_Init(void)
{

  huart2.Instance = USART2;
  huart2.Init.BaudRate = 115200;
  huart2.Init.WordLength = UART_WORDLENGTH_8B;
  huart2.Init.StopBits = UART_STOPBITS_1;
  huart2.Init.Parity = UART_PARITY_NONE;
  huart2.Init.Mode = UART_MODE_TX_RX;
  huart2.Init.HwFlowCtl = UART_HWCONTROL_NONE;
  huart2.Init.OverSampling = UART_OVERSAMPLING_16;
  if (HAL_UART_Init(&huart2) != HAL_OK)
  {
    Error_Handler();
  }

}

static void MX_GPIO_Init(void)
{
  GPIO_InitTypeDef GPIO_InitStruct = {0};

  /* GPIO Ports Clock Enable */
  __HAL_RCC_GPIOA_CLK_ENABLE();
  __HAL_RCC_GPIOB_CLK_ENABLE();

  /*Configure GPIO pin Output Level */
  HAL_GPIO_WritePin(GPIOA, GPIO_PIN_0|SD_Power_Pin, GPIO_PIN_RESET);

  /*Configure GPIO pin Output Level */
  HAL_GPIO_WritePin(GPIOA, RST_Pin|SD_CS_Pin, GPIO_PIN_SET);

  /*Configure GPIO pin Output Level */
  HAL_GPIO_WritePin(GPIOB, CS_Pin|DC_Pin|LED_Pin, GPIO_PIN_SET);

  /*Configure GPIO pins : PA0 RST_Pin */
  GPIO_InitStruct.Pin = GPIO_PIN_0|RST_Pin;
  GPIO_InitStruct.Mode = GPIO_MODE_OUTPUT_PP;
  GPIO_InitStruct.Pull = GPIO_NOPULL;
  GPIO_InitStruct.Speed = GPIO_SPEED_FREQ_LOW;
  HAL_GPIO_Init(GPIOA, &GPIO_InitStruct);

  /*Configure GPIO pins : CS_Pin DC_Pin LED_Pin */
  GPIO_InitStruct.Pin = CS_Pin|DC_Pin|LED_Pin;
  GPIO_InitStruct.Mode = GPIO_MODE_OUTPUT_PP;
  GPIO_InitStruct.Pull = GPIO_NOPULL;
  GPIO_InitStruct.Speed = GPIO_SPEED_FREQ_HIGH;
  HAL_GPIO_Init(GPIOB, &GPIO_InitStruct);

  /*Configure GPIO pins : JUMP_BUTTON_Pin RIGHT_BUTTON_Pin */
  GPIO_InitStruct.Pin = JUMP_BUTTON_Pin|RIGHT_BUTTON_Pin;
  GPIO_InitStruct.Mode = GPIO_MODE_INPUT;
  GPIO_InitStruct.Pull = GPIO_PULLDOWN;
  HAL_GPIO_Init(GPIOB, &GPIO_InitStruct);

  /*Configure GPIO pin : SD_CS_Pin */
  GPIO_InitStruct.Pin = SD_CS_Pin;
  GPIO_InitStruct.Mode = GPIO_MODE_OUTPUT_PP;
  GPIO_InitStruct.Pull = GPIO_PULLUP;
  GPIO_InitStruct.Speed = GPIO_SPEED_FREQ_LOW;
  HAL_GPIO_Init(SD_CS_GPIO_Port, &GPIO_InitStruct);

  /*Configure GPIO pin : LEFT_BUTTON_Pin */
  GPIO_InitStruct.Pin = LEFT_BUTTON_Pin;
  GPIO_InitStruct.Mode = GPIO_MODE_INPUT;
  GPIO_InitStruct.Pull = GPIO_PULLDOWN;
  HAL_GPIO_Init(LEFT_BUTTON_GPIO_Port, &GPIO_InitStruct);

  /*Configure GPIO pin : SD_Power_Pin */
  GPIO_InitStruct.Pin = SD_Power_Pin;
  GPIO_InitStruct.Mode = GPIO_MODE_OUTPUT_PP;
  GPIO_InitStruct.Pull = GPIO_NOPULL;
  GPIO_InitStruct.Speed = GPIO_SPEED_FREQ_VERY_HIGH;
  HAL_GPIO_Init(SD_Power_GPIO_Port, &GPIO_InitStruct);

  /*Configure GPIO pin : FIRE_BUTTON_Pin */
  GPIO_InitStruct.Pin = FIRE_BUTTON_Pin;
  GPIO_InitStruct.Mode = GPIO_MODE_INPUT;
  GPIO_InitStruct.Pull = GPIO_NOPULL;
  HAL_GPIO_Init(FIRE_BUTTON_GPIO_Port, &GPIO_InitStruct);

/* USER CODE BEGIN MX_GPIO_Init_2 */
//  HAL_NVIC_SetPriority(EXTI15_10_IRQn, 0, 0);
//  HAL_NVIC_EnableIRQ(EXTI15_10_IRQn);
/* USER CODE END MX_GPIO_Init_2 */
}

void Error_Handler(void)
{
  __disable_irq();
  while (1)
  {
  }
}
